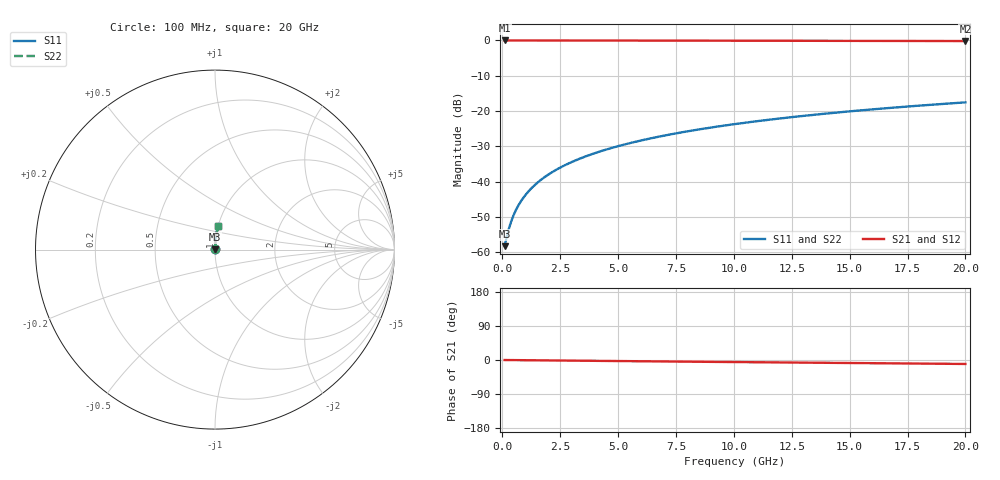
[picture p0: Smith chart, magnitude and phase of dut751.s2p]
! Touchstone file exported from HFSS 2024.1.0
!  File:  C:/UserFiles/LocalFiles/RDL_TSV_Batchsim/temp_RDL_bottom_751_1779859766.aedt
!  Generated:  01:31:56 PM May 27, 2026
!  Design:  RDL_bottom
!  Project:  temp_RDL_bottom_751_1779859766
!  Setup:  Setup1
!  Solution:  Sweep
! Variables:
!  dtsv = 10.80580581um
!  hbump = 3um
!  htsv = 86.68um
!  ldown = 107.81um
!  lrdl = 100um
!  p = 40
!  p1 = 43.88um
!  rhole = 1um
!  t = 450um
!  tdown = 3.02um
!  trdl = 3.915915916um
!  wdown = 16.21um
!  wrdl = 20um
# GHz S MA R 50.000000
! Terminal data exported
! Port[1] = RDL1_T1
! Port[2] = RDL1_T2
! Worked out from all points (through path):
!   200 points, 100 MHz to 20 GHz, reference 50 ohm
!   highest |S21| = -0.01 dB at 100 MHz (marker M1); lowest = -0.2 dB at 20 GHz (marker M2)
!   group delay of S21, straight-line fit = 1.44 ps
!   lowest |S11| = -58.3 dB at 100 MHz (marker M3), VSWR 1.00, Z = 50.1 + j0.0665 ohm
!   |S11| at or under -10 dB: start of sweep to end of sweep
!   |S22| runs from -58.3 to -17.6 dB; largest |S21 - S12| = 2e-15
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0.1  0.001215 33.1  0.999 -0.1  0.999 -0.1  0.001215 33.1
! Gamma 0 0 0 0
! Port Impedance 50 0 50 0
0.2  0.00168 51.8  0.999 -0.1  0.999 -0.1  0.00168 51.8
0.3  0.002236 61.6  0.9989 -0.2  0.9989 -0.2  0.002236 61.6
0.4  0.002821 67.3  0.9989 -0.2  0.9989 -0.2  0.002821 67.3
0.5  0.003418 71.0  0.9989 -0.3  0.9989 -0.3  0.003418 71.0
0.6  0.004019 73.6  0.9988 -0.3  0.9988 -0.3  0.004019 73.6
0.8  0.00523 77.2  0.9988 -0.5  0.9988 -0.5  0.00523 77.2
1.1  0.007064 80.3  0.9987 -0.6  0.9987 -0.6  0.007064 80.3
1.5  0.009532 82.7  0.9985 -0.9  0.9985 -0.9  0.009532 82.7
1.8  0.0114 83.8  0.9984 -1.0  0.9984 -1.0  0.0114 83.8
2.1  0.01327 84.6  0.9983 -1.2  0.9983 -1.2  0.01327 84.6
2.7  0.01704 85.7  0.998 -1.5  0.998 -1.5  0.01704 85.7
3.5  0.0221 86.5  0.9975 -2.0  0.9975 -2.0  0.0221 86.5
4.2  0.02658 87.0  0.997 -2.4  0.997 -2.4  0.02658 87.0
5  0.03175 87.2  0.9964 -2.8  0.9964 -2.8  0.03175 87.2
5.9  0.03761 87.3  0.9955 -3.3  0.9955 -3.3  0.03761 87.3
6.8  0.04354 87.3  0.9947 -3.8  0.9947 -3.8  0.04354 87.3
8.3  0.05352 87.0  0.9931 -4.6  0.9931 -4.6  0.05352 87.0
10.1  0.06563 86.4  0.9911 -5.5  0.9911 -5.5  0.06563 86.4
13.4  0.08798 85.0  0.9874 -7.2  0.9874 -7.2  0.08798 85.0
16.7  0.1103 83.3  0.9836 -8.8  0.9836 -8.8  0.1103 83.3
20  0.1325 81.6  0.9796 -10.4  0.9796 -10.4  0.1325 81.6
